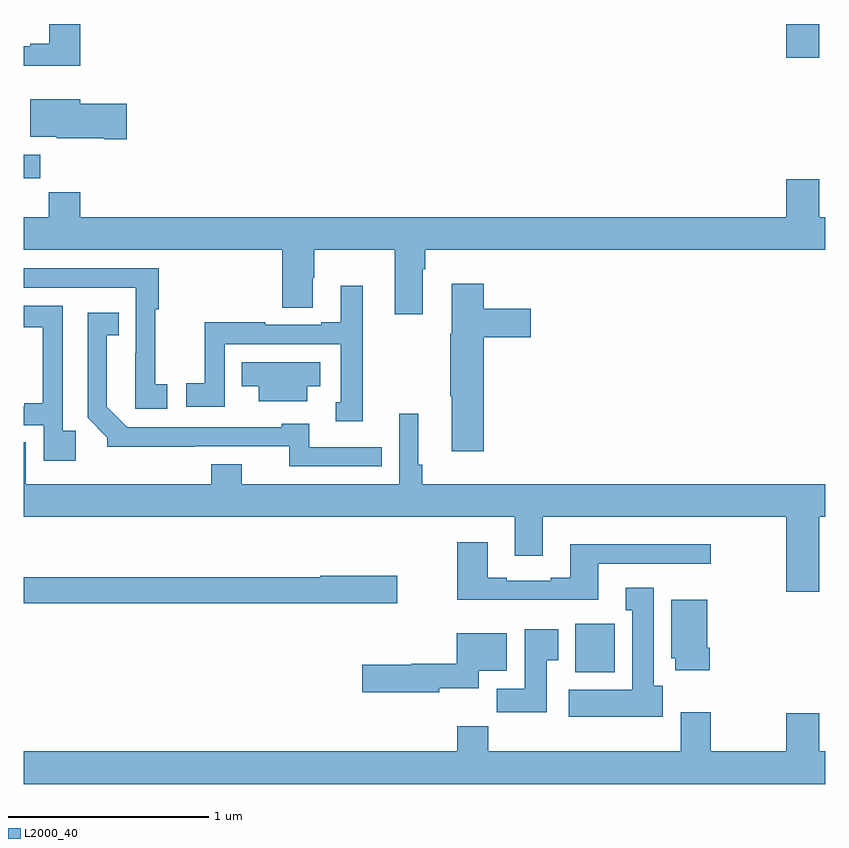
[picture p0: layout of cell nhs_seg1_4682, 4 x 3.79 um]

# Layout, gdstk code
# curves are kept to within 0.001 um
import gdstk
lib = gdstk.Library(unit=1e-6, precision=1e-09)
def R(c, l, rs):  # rectangles x0, y0, x1, y1
    for r in rs: c.add(gdstk.rectangle(r[:2], r[2:], *l))
def P(c, l, *ps):  # polygons
    for p in ps: c.add(gdstk.Polygon(p, *l))
L2000_40 = (2000, 40)

nhs_seg1_4682 = lib.new_cell('nhs_seg1_4682')
R(nhs_seg1_4682, L2000_40, [(367.751,542.966,367.948,543.208), (365,545.43,365.084,545.548), (368.804,546.03,368.968,546.199)])
P(nhs_seg1_4682, L2000_40, [(365.282,546.199),(365.129,546.199),(365.129,546.1),(365.033,546.1),(365.033,546.087),(365,546.087),(365,545.99),(365.282,545.99)],
  [(365.515,545.801),(365.284,545.801),(365.284,545.824),(365.033,545.824),(365.033,545.636),(365.166,545.636),(365.166,545.63),(365.402,545.63),(365.402,545.623),(365.515,545.623)],
  [(366.991,544.976),(367.004,544.976),(367.004,545.072),(369,545.072),(369,545.236),(368.968,545.236),(368.968,545.425),(368.804,545.425),(368.804,545.236),(365.282,545.236),(365.282,545.36),(365.125,545.36),(365.125,545.236),(365,545.236),(365,545.072),(366.29,545.072),(366.29,544.783),(366.442,544.783),(366.442,544.934),(366.45,544.934),(366.45,545.072),(366.851,545.072),(366.851,544.752),(366.991,544.752)],
  [(365.716,544.401),(365.658,544.401),(365.658,544.777),(365.675,544.777),(365.675,544.98),(365,544.98),(365,544.884),(365.559,544.884),(365.559,544.556),(365.558,544.556),(365.558,544.281),(365.716,544.281)],
  [(367.295,544.637),(367.531,544.637),(367.531,544.779),(367.295,544.779),(367.295,544.903),(367.136,544.903),(367.136,544.653),(367.129,544.653),(367.129,544.342),(367.136,544.342),(367.136,544.068),(367.295,544.068)],
  [(366.691,544.894),(366.581,544.894),(366.581,544.711),(366.485,544.711),(366.485,544.698),(366.206,544.698),(366.206,544.711),(365.905,544.711),(365.905,544.406),(365.811,544.406),(365.811,544.29),(366.003,544.29),(366.003,544.602),(366.582,544.602),(366.582,544.311),(366.557,544.311),(366.557,544.217),(366.691,544.217)],
  [(365.261,544.171),(365.196,544.171),(365.196,544.794),(365,544.794),(365,544.686),(365.095,544.686),(365.095,544.306),(365.003,544.306),(365.003,544.293),(365,544.293),(365,544.197),(365.1,544.197),(365.1,544.02),(365.261,544.02)],
  [(366.788,544.089),(366.424,544.089),(366.424,544.204),(366.288,544.204),(366.288,544.188),(365.517,544.188),(365.416,544.289),(365.416,544.646),(365.474,544.646),(365.474,544.759),(365.319,544.759),(365.319,544.234),(365.418,544.135),(365.418,544.091),(366.325,544.092),(366.325,543.993),(366.788,543.993)],
  [(366.415,544.391),(366.481,544.391),(366.481,544.513),(366.088,544.513),(366.088,544.391),(366.173,544.391),(366.173,544.316),(366.415,544.316)],
  [(368.968,543.74),(369,543.74),(369,543.904),(366.989,543.904),(366.989,544),(366.97,544),(366.97,544.255),(366.873,544.255),(366.873,543.904),(366.088,543.904),(366.088,544.003),(365.936,544.003),(365.936,543.904),(365.011,543.904),(365.011,544.112),(365,544.112),(365,543.74),(367.451,543.74),(367.451,543.546),(367.591,543.546),(367.591,543.74),(368.804,543.74),(368.804,543.366),(368.968,543.366)],
  [(367.867,543.507),(368.428,543.507),(368.428,543.604),(367.727,543.604),(367.727,543.436),(367.631,543.436),(367.631,543.423),(367.411,543.423),(367.411,543.436),(367.315,543.436),(367.315,543.613),(367.163,543.613),(367.163,543.326),(367.867,543.326)],
  [(366.865,543.447),(366.48,543.447),(366.48,543.439),(365,543.439),(365,543.31),(366.865,543.31)],
  [(368.188,542.898),(368.143,542.898),(368.143,543.388),(368.003,543.388),(368.003,543.275),(368.036,543.275),(368.036,542.878),(367.719,542.878),(367.719,542.744),(368.188,542.744)],
  [(368.423,543.088),(368.41,543.088),(368.41,543.328),(368.231,543.328),(368.231,543.036),(368.252,543.036),(368.252,542.976),(368.423,542.976)],
  [(367.609,543.025),(367.666,543.025),(367.666,543.181),(367.499,543.181),(367.499,542.884),(367.36,542.884),(367.36,542.766),(367.609,542.766)],
  [(367.074,542.885),(367.27,542.885),(367.27,542.972),(367.411,542.972),(367.411,543.16),(367.16,543.16),(367.16,543.008),(366.933,543.008),(366.933,543.003),(366.69,543.003),(366.69,542.866),(367.074,542.866)],
  [(369,542.572),(368.968,542.572),(368.968,542.761),(368.804,542.761),(368.804,542.572),(368.427,542.572),(368.427,542.767),(368.279,542.767),(368.279,542.572),(367.319,542.572),(367.319,542.696),(367.163,542.696),(367.163,542.572),(365,542.572),(365,542.408),(369,542.408)])

lib.write_gds('nhs_seg1_4682.gds')
